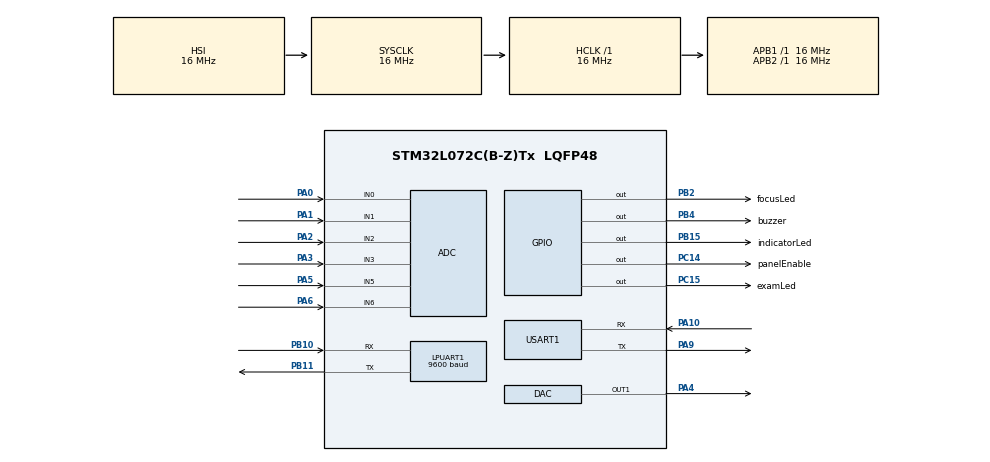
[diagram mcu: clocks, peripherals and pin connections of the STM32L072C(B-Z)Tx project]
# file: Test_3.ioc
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ADC.ContinuousConvMode=DISABLE
ADC.DMAContinuousRequests=ENABLE
Dma.ADC.0.Direction=DMA_PERIPH_TO_MEMORY
Dma.ADC.0.Instance=DMA1_Channel1
Dma.ADC.0.MemDataAlignment=DMA_MDATAALIGN_HALFWORD
Dma.ADC.0.MemInc=DMA_MINC_ENABLE
Dma.ADC.0.Mode=DMA_CIRCULAR
Dma.ADC.0.PeriphDataAlignment=DMA_PDATAALIGN_HALFWORD
Dma.ADC.0.PeriphInc=DMA_PINC_DISABLE
Dma.ADC.0.Priority=DMA_PRIORITY_LOW
Dma.LPUART1_RX.1.Direction=DMA_PERIPH_TO_MEMORY
Dma.LPUART1_RX.1.Instance=DMA1_Channel3
Dma.LPUART1_RX.1.MemDataAlignment=DMA_MDATAALIGN_BYTE
Dma.LPUART1_RX.1.MemInc=DMA_MINC_ENABLE
Dma.LPUART1_RX.1.Mode=DMA_NORMAL
Dma.LPUART1_RX.1.PeriphDataAlignment=DMA_PDATAALIGN_BYTE
Dma.LPUART1_RX.1.PeriphInc=DMA_PINC_DISABLE
Dma.LPUART1_RX.1.Priority=DMA_PRIORITY_LOW
Dma.Request0=ADC
Dma.Request1=LPUART1_RX
LPUART1.BaudRate=9600
LPUART1.WordLength=UART_WORDLENGTH_8B
Mcu.Family=STM32L0
Mcu.Name=STM32L072C(B-Z)Tx
Mcu.Package=LQFP48
NVIC.DMA1_Channel1_IRQn=true\:0\:0\:false\:false\:true\:false\:true
NVIC.DMA1_Channel2_3_IRQn=true\:0\:0\:false\:false\:true\:false\:true
NVIC.TIM7_IRQn=true\:0\:0\:false\:false\:true\:true\:true
NVIC.USART1_IRQn=true\:0\:0\:false\:false\:true\:true\:true
PA0.Mode=IN0
PA0.Signal=ADC_IN0
PA1.Mode=IN1
PA1.Signal=ADC_IN1
PA10.Mode=Asynchronous
PA10.Signal=USART1_RX
PA13.Mode=Serial_Wire
PA13.Signal=SYS_SWDIO
PA14.Mode=Serial_Wire
PA14.Signal=SYS_SWCLK
PA2.Mode=IN2
PA2.Signal=ADC_IN2
PA3.Mode=IN3
PA3.Signal=ADC_IN3
PA4.Signal=COMP_DAC1_group
PA5.Mode=IN5
PA5.Signal=ADC_IN5
PA6.Mode=IN6
PA6.Signal=ADC_IN6
PA9.Mode=Asynchronous
PA9.Signal=USART1_TX
PB10.Mode=Asynchronous
PB10.Signal=LPUART1_RX
PB11.Mode=Asynchronous
PB11.Signal=LPUART1_TX
PB15.GPIO_Label=indicatorLed
PB15.Signal=GPIO_Output
PB2.GPIO_Label=focusLed
PB2.Signal=GPIO_Output
PB4.GPIO_Label=buzzer
PB4.Signal=GPIO_Output
PC14-OSC32_IN.GPIO_Label=panelEnable
PC14-OSC32_IN.Signal=GPIO_Output
PC15-OSC32_OUT.GPIO_Label=examLed
PC15-OSC32_OUT.Signal=GPIO_Output
ProjectManager.HeapSize=0x200
ProjectManager.StackSize=0x400
ProjectManager.TargetToolchain=MDK-ARM V5
RCC.AHBFreq_Value=16000000
RCC.APB1Freq_Value=16000000
RCC.APB1TimFreq_Value=16000000
RCC.APB2Freq_Value=16000000
RCC.APB2TimFreq_Value=16000000
RCC.HCLKFreq_Value=16000000
RCC.HSE_VALUE=8000000
RCC.HSI16_VALUE=16000000
RCC.HSI48_VALUE=48000000
RCC.HSI_VALUE=16000000
RCC.LSE_VALUE=32768
RCC.MSI_VALUE=2097000
RCC.SYSCLKFreq_VALUE=16000000
RCC.SYSCLKSource=RCC_SYSCLKSOURCE_HSI
RCC.VCOOutputFreq_Value=48000000
SH.COMP_DAC1_group.0=DAC_OUT1,DAC_OUT1
USART1.VirtualMode-Asynchronous=VM_ASYNC
VP_RTC_VS_RTC_Activate.Mode=RTC_Enabled
VP_RTC_VS_RTC_Calendar.Mode=RTC_Calendar
VP_TIM7_VS_ClockSourceINT.Mode=Enable_Timer
board=custom

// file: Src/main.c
/* USER CODE BEGIN Header */
/**
  ******************************************************************************
  * @file           : main.c
  * @brief          : Main program body
  ******************************************************************************
  * @attention
  *
  * <h2><center>&copy; Copyright (c) 2021 STMicroelectronics.
  * All rights reserved.</center></h2>
  *
  * This software component is licensed by ST under BSD 3-Clause license,
  * the "License"; You may not use this file except in compliance with the
  * License. You may obtain a copy of the License at:
  *                        opensource.org/licenses/BSD-3-Clause
  *
  ******************************************************************************
  */
/* USER CODE END Header */

#include "main.h"
#include "string.h"
#include "stdbool.h"
#include "stdio.h"

ADC_HandleTypeDef hadc;
DMA_HandleTypeDef hdma_adc;

DAC_HandleTypeDef hdac;

UART_HandleTypeDef hlpuart1;
UART_HandleTypeDef huart1;
DMA_HandleTypeDef hdma_lpuart1_rx;

RTC_HandleTypeDef hrtc;

TIM_HandleTypeDef htim7;

/* USER CODE BEGIN PV */
RTC_TimeTypeDef sTime = {0};
RTC_DateTypeDef sDate = {0};
uint8_t state=0;
uint8_t screen_rx_buffer[1];
uint16_t adc_buf[6];
int dac_value = 0;
uint8_t change_page[] = {'p', 'a', 'g', 'e', ' ', 'x', 0xff, 0xff, 0xff};
uint8_t temp[] = {'x', '0', '.', 'v', 'a', 'l', '=', '3', '3', '3', 0xff, 0xff, 0xff};
uint8_t temp1[] = {'x', '0', '.', 'v', 'a', 'l', '=', '2', '2', '2', 0xff, 0xff, 0xff};
char string_t_celcius[15];

uint8_t Time[3];
uint8_t Date[3];

extern uint8_t Rx_Byte[1];
extern volatile uint8_t Rx_Data[200];
extern uint8_t Rx_DataCnt;
extern volatile uint8_t Rx_Flag;
extern uint8_t n_cnt;
extern int T_Celcius;
/* USER CODE END PV */

void SystemClock_Config(void);
static void MX_GPIO_Init(void);
static void MX_DMA_Init(void);
static void MX_DAC_Init(void);
static void MX_ADC_Init(void);
static void MX_LPUART1_UART_Init(void);
static void MX_USART1_UART_Init(void);
static void MX_RTC_Init(void);
static void MX_TIM7_Init(void);
/* USER CODE BEGIN PFP */
void update_time()
{
	HAL_RTC_GetTime(&hrtc, &sTime, RTC_FORMAT_BIN); // Get Time
	HAL_RTC_GetDate(&hrtc, &sDate, RTC_FORMAT_BIN); // Get Date

	Time[0] = sTime.Hours;
	Time[1] = sTime.Minutes;
	Time[2] = sTime.Seconds;

	Date[0] = sDate.Date;
	Date[1] = sDate.Month;
	Date[2] = sDate.Year;
}

void clear_rx_data()
{
	memset((void *)Rx_Data, 0, sizeof(Rx_Data));
	Rx_DataCnt=0;
	Rx_Flag=0;
	n_cnt=0;
}

bool check_esp32_module()
{
	uint8_t Tx_Buffer_Echo[] = {'A', 'T', 'E', '0', '\r', '\n'};
	HAL_UART_Transmit(&huart1, Tx_Buffer_Echo, sizeof(Tx_Buffer_Echo), 100);
	HAL_Delay(10);
}

void change_page_func(char page)
{
	change_page[5] = page;
	HAL_UART_Transmit(&hlpuart1, change_page, sizeof(change_page), 100);
	HAL_Delay(5);
}
/* USER CODE END PFP */

int main(void)
{

  /* MCU Configuration--------------------------------------------------------*/

  /* Reset of all peripherals, Initializes the Flash interface and the Systick. */
  HAL_Init();

  /* Configure the system clock */
  SystemClock_Config();
	HAL_Delay(2000);

  /* Initialize all configured peripherals */
  MX_GPIO_Init();
  MX_DMA_Init();
  MX_DAC_Init();
  MX_ADC_Init();
  MX_LPUART1_UART_Init();
  MX_USART1_UART_Init();
  MX_RTC_Init();
  MX_TIM7_Init();
  /* USER CODE BEGIN 2 */
	/* Configure Screen UART Receive for DMA Mode */
	__HAL_UART_ENABLE_IT(&huart1, UART_IT_RXNE);
	/* Confifure ADC for DMA Mode */
	while(HAL_ADCEx_Calibration_Start(&hadc, ADC_SINGLE_ENDED) != HAL_OK){};	// Kalibrasyon yap
	HAL_ADC_Start_DMA(&hadc, (uint32_t*)adc_buf, 6);

	/* Configure DAC for led panel */
	HAL_DAC_Start(&hdac, DAC_CHANNEL_1);
	HAL_DAC_SetValue(&hdac, DAC_CHANNEL_1, DAC_ALIGN_12B_R, 0);
	/* UART1 Rx Interrupt Enable */
	check_esp32_module();
	//clear_rx_data();
	change_page_func('1');
	HAL_TIM_Base_Start_IT(&htim7);

  /* USER CODE END 2 */

  /* Infinite loop */
  while (1)
  {
		update_time();
		HAL_UART_Receive_DMA(&hlpuart1, screen_rx_buffer, 1);
		state = screen_rx_buffer[0];
		if(state!=0)
		{
			switch(state)
			{
				case 'S':
					HAL_GPIO_TogglePin(panelEnable_GPIO_Port, panelEnable_Pin);
					break;
					/*HAL_DAC_SetValue(&hdac, DAC_CHANNEL_1, DAC_ALIGN_12B_R, 0);
					uint8_t Tx_Buffer[] = {'A', 'T', '\r', '\n'};
					HAL_UART_Transmit(&huart1, Tx_Buffer, sizeof(Tx_Buffer), 100);*/
				case 'F':
					HAL_GPIO_TogglePin(focusLed_GPIO_Port, focusLed_Pin);
					break;
				case 'E':
					HAL_GPIO_TogglePin(examLed_GPIO_Port, examLed_Pin);
					break;
				case 1:
					HAL_DAC_SetValue(&hdac, DAC_CHANNEL_1, DAC_ALIGN_12B_R, 0);
					break;
				case 2:
					HAL_DAC_SetValue(&hdac, DAC_CHANNEL_1, DAC_ALIGN_12B_R, 80);
					break;
				case 3:
					HAL_DAC_SetValue(&hdac, DAC_CHANNEL_1, DAC_ALIGN_12B_R, 160);
					break;
				case 4:
					HAL_DAC_SetValue(&hdac, DAC_CHANNEL_1, DAC_ALIGN_12B_R, 240);
					break;
				case 5:
					HAL_DAC_SetValue(&hdac, DAC_CHANNEL_1, DAC_ALIGN_12B_R, 300);
					break;
			}
			screen_rx_buffer[0]=0;
		}
		//sprintf(string_t_celcius, "x0.val=%d%c%c%c", T_Celcius, 0xff, 0xff, 0xff);
		//HAL_UART_Transmit(&hlpuart1, (uint8_t*)string_t_celcius, sizeof(string_t_celcius), 100);
		/*if(Rx_Flag==1)
		{
			Rx_Flag=0;
		}*/
  }
}

void SystemClock_Config(void)
{
  RCC_OscInitTypeDef RCC_OscInitStruct = {0};
  RCC_ClkInitTypeDef RCC_ClkInitStruct = {0};
  RCC_PeriphCLKInitTypeDef PeriphClkInit = {0};

  /** Configure the main internal regulator output voltage
  */
  __HAL_PWR_VOLTAGESCALING_CONFIG(PWR_REGULATOR_VOLTAGE_SCALE1);
  /** Initializes the CPU, AHB and APB busses clocks
  */
  RCC_OscInitStruct.OscillatorType = RCC_OSCILLATORTYPE_HSI|RCC_OSCILLATORTYPE_LSI;
  RCC_OscInitStruct.HSIState = RCC_HSI_ON;
  RCC_OscInitStruct.HSICalibrationValue = RCC_HSICALIBRATION_DEFAULT;
  RCC_OscInitStruct.LSIState = RCC_LSI_ON;
  RCC_OscInitStruct.PLL.PLLState = RCC_PLL_NONE;
  if (HAL_RCC_OscConfig(&RCC_OscInitStruct) != HAL_OK)
  {
    Error_Handler();
  }
  /** Initializes the CPU, AHB and APB busses clocks
  */
  RCC_ClkInitStruct.ClockType = RCC_CLOCKTYPE_HCLK|RCC_CLOCKTYPE_SYSCLK
                              |RCC_CLOCKTYPE_PCLK1|RCC_CLOCKTYPE_PCLK2;
  RCC_ClkInitStruct.SYSCLKSource = RCC_SYSCLKSOURCE_HSI;
  RCC_ClkInitStruct.AHBCLKDivider = RCC_SYSCLK_DIV1;
  RCC_ClkInitStruct.APB1CLKDivider = RCC_HCLK_DIV1;
  RCC_ClkInitStruct.APB2CLKDivider = RCC_HCLK_DIV1;

  if (HAL_RCC_ClockConfig(&RCC_ClkInitStruct, FLASH_LATENCY_0) != HAL_OK)
  {
    Error_Handler();
  }
  PeriphClkInit.PeriphClockSelection = RCC_PERIPHCLK_USART1|RCC_PERIPHCLK_LPUART1
                              |RCC_PERIPHCLK_RTC;
  PeriphClkInit.Usart1ClockSelection = RCC_USART1CLKSOURCE_PCLK2;
  PeriphClkInit.Lpuart1ClockSelection = RCC_LPUART1CLKSOURCE_PCLK1;
  PeriphClkInit.RTCClockSelection = RCC_RTCCLKSOURCE_LSI;
  if (HAL_RCCEx_PeriphCLKConfig(&PeriphClkInit) != HAL_OK)
  {
    Error_Handler();
  }
}

static void MX_ADC_Init(void)
{

  ADC_ChannelConfTypeDef sConfig = {0};

  /** Configure the global features of the ADC (Clock, Resolution, Data Alignment and number of conversion)
  */
  hadc.Instance = ADC1;
  hadc.Init.OversamplingMode = DISABLE;
  hadc.Init.ClockPrescaler = ADC_CLOCK_SYNC_PCLK_DIV1;
  hadc.Init.Resolution = ADC_RESOLUTION_12B;
  hadc.Init.SamplingTime = ADC_SAMPLETIME_1CYCLE_5;
  hadc.Init.ScanConvMode = ADC_SCAN_DIRECTION_FORWARD;
  hadc.Init.DataAlign = ADC_DATAALIGN_RIGHT;
  hadc.Init.ContinuousConvMode = DISABLE;
  hadc.Init.DiscontinuousConvMode = DISABLE;
  hadc.Init.ExternalTrigConvEdge = ADC_EXTERNALTRIGCONVEDGE_NONE;
  hadc.Init.ExternalTrigConv = ADC_SOFTWARE_START;
  hadc.Init.DMAContinuousRequests = ENABLE;
  hadc.Init.EOCSelection = ADC_EOC_SINGLE_CONV;
  hadc.Init.Overrun = ADC_OVR_DATA_PRESERVED;
  hadc.Init.LowPowerAutoWait = DISABLE;
  hadc.Init.LowPowerFrequencyMode = DISABLE;
  hadc.Init.LowPowerAutoPowerOff = DISABLE;
  if (HAL_ADC_Init(&hadc) != HAL_OK)
  {
    Error_Handler();
  }
  /** Configure for the selected ADC regular channel to be converted.
  */
  sConfig.Channel = ADC_CHANNEL_0;
  sConfig.Rank = ADC_RANK_CHANNEL_NUMBER;
  if (HAL_ADC_ConfigChannel(&hadc, &sConfig) != HAL_OK)
  {
    Error_Handler();
  }
  /** Configure for the selected ADC regular channel to be converted.
  */
  sConfig.Channel = ADC_CHANNEL_1;
  if (HAL_ADC_ConfigChannel(&hadc, &sConfig) != HAL_OK)
  {
    Error_Handler();
  }
  /** Configure for the selected ADC regular channel to be converted.
  */
  sConfig.Channel = ADC_CHANNEL_2;
  if (HAL_ADC_ConfigChannel(&hadc, &sConfig) != HAL_OK)
  {
    Error_Handler();
  }
  /** Configure for the selected ADC regular channel to be converted.
  */
  sConfig.Channel = ADC_CHANNEL_3;
  if (HAL_ADC_ConfigChannel(&hadc, &sConfig) != HAL_OK)
  {
    Error_Handler();
  }
  /** Configure for the selected ADC regular channel to be converted.
  */
  sConfig.Channel = ADC_CHANNEL_5;
  if (HAL_ADC_ConfigChannel(&hadc, &sConfig) != HAL_OK)
  {
    Error_Handler();
  }
  /** Configure for the selected ADC regular channel to be converted.
  */
  sConfig.Channel = ADC_CHANNEL_6;
  if (HAL_ADC_ConfigChannel(&hadc, &sConfig) != HAL_OK)
  {
    Error_Handler();
  }

}

static void MX_DAC_Init(void)
{

  DAC_ChannelConfTypeDef sConfig = {0};

  /** DAC Initialization
  */
  hdac.Instance = DAC;
  if (HAL_DAC_Init(&hdac) != HAL_OK)
  {
    Error_Handler();
  }
  /** DAC channel OUT1 config
  */
  sConfig.DAC_Trigger = DAC_TRIGGER_NONE;
  sConfig.DAC_OutputBuffer = DAC_OUTPUTBUFFER_ENABLE;
  if (HAL_DAC_ConfigChannel(&hdac, &sConfig, DAC_CHANNEL_1) != HAL_OK)
  {
    Error_Handler();
  }

}

static void MX_LPUART1_UART_Init(void)
{

  hlpuart1.Instance = LPUART1;
  hlpuart1.Init.BaudRate = 9600;
  hlpuart1.Init.WordLength = UART_WORDLENGTH_8B;
  hlpuart1.Init.StopBits = UART_STOPBITS_1;
  hlpuart1.Init.Parity = UART_PARITY_NONE;
  hlpuart1.Init.Mode = UART_MODE_TX_RX;
  hlpuart1.Init.HwFlowCtl = UART_HWCONTROL_NONE;
  hlpuart1.Init.OneBitSampling = UART_ONE_BIT_SAMPLE_DISABLE;
  hlpuart1.AdvancedInit.AdvFeatureInit = UART_ADVFEATURE_NO_INIT;
  if (HAL_UART_Init(&hlpuart1) != HAL_OK)
  {
    Error_Handler();
  }

}

static void MX_USART1_UART_Init(void)
{

  huart1.Instance = USART1;
  huart1.Init.BaudRate = 115200;
  huart1.Init.WordLength = UART_WORDLENGTH_8B;
  huart1.Init.StopBits = UART_STOPBITS_1;
  huart1.Init.Parity = UART_PARITY_NONE;
  huart1.Init.Mode = UART_MODE_TX_RX;
  huart1.Init.HwFlowCtl = UART_HWCONTROL_NONE;
  huart1.Init.OverSampling = UART_OVERSAMPLING_16;
  huart1.Init.OneBitSampling = UART_ONE_BIT_SAMPLE_DISABLE;
  huart1.AdvancedInit.AdvFeatureInit = UART_ADVFEATURE_NO_INIT;
  if (HAL_UART_Init(&huart1) != HAL_OK)
  {
    Error_Handler();
  }

}

static void MX_RTC_Init(void)
{

  RTC_TimeTypeDef sTime = {0};
  RTC_DateTypeDef sDate = {0};

  /** Initialize RTC Only
  */
  hrtc.Instance = RTC;
  hrtc.Init.HourFormat = RTC_HOURFORMAT_24;
  hrtc.Init.AsynchPrediv = 127;
  hrtc.Init.SynchPrediv = 255;
  hrtc.Init.OutPut = RTC_OUTPUT_DISABLE;
  hrtc.Init.OutPutRemap = RTC_OUTPUT_REMAP_NONE;
  hrtc.Init.OutPutPolarity = RTC_OUTPUT_POLARITY_HIGH;
  hrtc.Init.OutPutType = RTC_OUTPUT_TYPE_OPENDRAIN;
  if (HAL_RTC_Init(&hrtc) != HAL_OK)
  {
    Error_Handler();
  }

  /** Initialize RTC and set the Time and Date
  */
  sTime.Hours = 0x0;
  sTime.Minutes = 0x0;
  sTime.Seconds = 0x0;
  sTime.DayLightSaving = RTC_DAYLIGHTSAVING_NONE;
  sTime.StoreOperation = RTC_STOREOPERATION_RESET;
  if (HAL_RTC_SetTime(&hrtc, &sTime, RTC_FORMAT_BCD) != HAL_OK)
  {
    Error_Handler();
  }
  sDate.WeekDay = RTC_WEEKDAY_MONDAY;
  sDate.Month = RTC_MONTH_JANUARY;
  sDate.Date = 0x1;
  sDate.Year = 0x0;

  if (HAL_RTC_SetDate(&hrtc, &sDate, RTC_FORMAT_BCD) != HAL_OK)
  {
    Error_Handler();
  }

}

static void MX_TIM7_Init(void)
{

  TIM_MasterConfigTypeDef sMasterConfig = {0};

  htim7.Instance = TIM7;
  htim7.Init.Prescaler = 3999;
  htim7.Init.CounterMode = TIM_COUNTERMODE_UP;
  htim7.Init.Period = 19999;
  htim7.Init.AutoReloadPreload = TIM_AUTORELOAD_PRELOAD_DISABLE;
  if (HAL_TIM_Base_Init(&htim7) != HAL_OK)
  {
    Error_Handler();
  }
  sMasterConfig.MasterOutputTrigger = TIM_TRGO_RESET;
  sMasterConfig.MasterSlaveMode = TIM_MASTERSLAVEMODE_DISABLE;
  if (HAL_TIMEx_MasterConfigSynchronization(&htim7, &sMasterConfig) != HAL_OK)
  {
    Error_Handler();
  }

}

static void MX_DMA_Init(void)
{
  /* DMA controller clock enable */
  __HAL_RCC_DMA1_CLK_ENABLE();

  /* DMA interrupt init */
  /* DMA1_Channel1_IRQn interrupt configuration */
  HAL_NVIC_SetPriority(DMA1_Channel1_IRQn, 0, 0);
  HAL_NVIC_EnableIRQ(DMA1_Channel1_IRQn);
  /* DMA1_Channel2_3_IRQn interrupt configuration */
  HAL_NVIC_SetPriority(DMA1_Channel2_3_IRQn, 0, 0);
  HAL_NVIC_EnableIRQ(DMA1_Channel2_3_IRQn);

}

static void MX_GPIO_Init(void)
{
  GPIO_InitTypeDef GPIO_InitStruct = {0};

  /* GPIO Ports Clock Enable */
  __HAL_RCC_GPIOC_CLK_ENABLE();
  __HAL_RCC_GPIOA_CLK_ENABLE();
  __HAL_RCC_GPIOB_CLK_ENABLE();

  /*Configure GPIO pin Output Level */
  HAL_GPIO_WritePin(GPIOC, panelEnable_Pin|examLed_Pin, GPIO_PIN_RESET);

  /*Configure GPIO pin Output Level */
  HAL_GPIO_WritePin(GPIOB, focusLed_Pin|indicatorLed_Pin|buzzer_Pin, GPIO_PIN_RESET);

  /*Configure GPIO pins : panelEnable_Pin examLed_Pin */
  GPIO_InitStruct.Pin = panelEnable_Pin|examLed_Pin;
  GPIO_InitStruct.Mode = GPIO_MODE_OUTPUT_PP;
  GPIO_InitStruct.Pull = GPIO_NOPULL;
  GPIO_InitStruct.Speed = GPIO_SPEED_FREQ_LOW;
  HAL_GPIO_Init(GPIOC, &GPIO_InitStruct);

  /*Configure GPIO pins : focusLed_Pin indicatorLed_Pin buzzer_Pin */
  GPIO_InitStruct.Pin = focusLed_Pin|indicatorLed_Pin|buzzer_Pin;
  GPIO_InitStruct.Mode = GPIO_MODE_OUTPUT_PP;
  GPIO_InitStruct.Pull = GPIO_NOPULL;
  GPIO_InitStruct.Speed = GPIO_SPEED_FREQ_LOW;
  HAL_GPIO_Init(GPIOB, &GPIO_InitStruct);

}

void Error_Handler(void)
{
}

/************************ (C) COPYRIGHT STMicroelectronics *****END OF FILE****/
